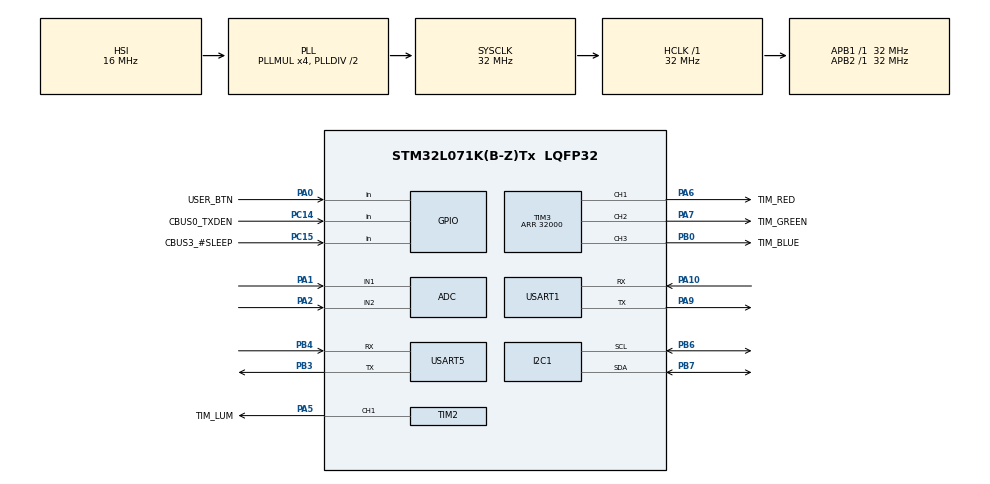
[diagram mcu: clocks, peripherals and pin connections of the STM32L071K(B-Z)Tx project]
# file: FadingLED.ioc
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I2C1.Timing=0x00707CBB
Mcu.Family=STM32L0
Mcu.Name=STM32L071K(B-Z)Tx
Mcu.Package=LQFP32
NVIC.TIM7_IRQn=true\:0\:0\:false\:false\:true\:true\:true
NVIC.USART1_IRQn=true\:0\:0\:false\:false\:true\:true\:true
NVIC.USART4_5_IRQn=true\:0\:0\:false\:false\:true\:true\:true
PA0.GPIO_Label=USER_BTN
PA0.Signal=GPIO_Input
PA1.Mode=IN1
PA1.Signal=ADC_IN1
PA10.Mode=Asynchronous
PA10.Signal=USART1_RX
PA11.Signal=USART1_CTS
PA12.Signal=USART1_RTS
PA13.Mode=Serial_Wire
PA13.Signal=SYS_SWDIO
PA14.Mode=Serial_Wire
PA14.Signal=SYS_SWCLK
PA2.Mode=IN2
PA2.Signal=ADC_IN2
PA5.GPIO_Label=TIM_LUM
PA5.GPIO_ModeDefaultPP=GPIO_MODE_AF_OD
PA5.Signal=S_TIM2_CH1
PA6.GPIO_Label=TIM_RED
PA6.Signal=S_TIM3_CH1
PA7.GPIO_Label=TIM_GREEN
PA7.Signal=S_TIM3_CH2
PA9.Mode=Asynchronous
PA9.Signal=USART1_TX
PB0.GPIO_Label=TIM_BLUE
PB0.Signal=S_TIM3_CH3
PB3.Mode=Asynchronous
PB3.Signal=USART5_TX
PB4.Mode=Asynchronous
PB4.Signal=USART5_RX
PB6.GPIO_Pu=GPIO_PULLUP
PB6.Mode=I2C
PB6.Signal=I2C1_SCL
PB7.GPIO_Pu=GPIO_PULLUP
PB7.Mode=I2C
PB7.Signal=I2C1_SDA
PC14-OSC32_IN.GPIO_Label=CBUS0_TXDEN
PC14-OSC32_IN.Signal=GPIO_Input
PC15-OSC32_OUT.GPIO_Label=CBUS3_\#SLEEP
PC15-OSC32_OUT.Signal=GPIO_Input
ProjectManager.HeapSize=0x200
ProjectManager.StackSize=0x400
ProjectManager.TargetToolchain=STM32CubeIDE
RCC.AHBFreq_Value=32000000
RCC.APB1Freq_Value=32000000
RCC.APB1TimFreq_Value=32000000
RCC.APB2Freq_Value=32000000
RCC.APB2TimFreq_Value=32000000
RCC.HCLKFreq_Value=32000000
RCC.HSI16_VALUE=16000000
RCC.HSI_VALUE=16000000
RCC.LSE_VALUE=32768
RCC.MSI_VALUE=2097000
RCC.PLLMUL=RCC_PLLMUL_4
RCC.SYSCLKFreq_VALUE=32000000
RCC.SYSCLKSource=RCC_SYSCLKSOURCE_PLLCLK
RCC.VCOOutputFreq_Value=64000000
SH.S_TIM2_CH1.0=TIM2_CH1,PWM Generation1 CH1
SH.S_TIM3_CH1.0=TIM3_CH1,PWM Generation1 CH1
SH.S_TIM3_CH2.0=TIM3_CH2,PWM Generation2 CH2
SH.S_TIM3_CH3.0=TIM3_CH3,PWM Generation3 CH3
TIM2.Channel-PWM\ Generation1\ CH1=TIM_CHANNEL_1
TIM2.ClockDivision=TIM_CLOCKDIVISION_DIV1
TIM2.Period=3370
TIM3.Channel-PWM\ Generation1\ CH1=TIM_CHANNEL_1
TIM3.Channel-PWM\ Generation2\ CH2=TIM_CHANNEL_2
TIM3.Channel-PWM\ Generation3\ CH3=TIM_CHANNEL_3
TIM3.ClockDivision=TIM_CLOCKDIVISION_DIV1
TIM3.Period=32000
TIM7.Period=10000
TIM7.Prescaler=31
USART1.VirtualMode-Asynchronous=VM_ASYNC
USART5.VirtualMode-Asynchronous=VM_ASYNC
VP_TIM2_VS_ClockSourceINT.Mode=Internal
VP_TIM3_VS_ClockSourceINT.Mode=Internal
VP_TIM7_VS_ClockSourceINT.Mode=Enable_Timer
board=custom

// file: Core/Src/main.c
/* USER CODE BEGIN Header */
/**
 ******************************************************************************
 * @file           : main.c
 * @brief          : Main program body
 ******************************************************************************
 * @attention
 *
 * <h2><center>&copy; Copyright (c) 2021 STMicroelectronics.
 * All rights reserved.</center></h2>
 *
 * This software component is licensed by ST under BSD 3-Clause license,
 * the "License"; You may not use this file except in compliance with the
 * License. You may obtain a copy of the License at:
 *                        opensource.org/licenses/BSD-3-Clause
 *
 ******************************************************************************
 */
/* USER CODE END Header */
#include "main.h"
#include "adc.h"
#include "i2c.h"
#include "tim.h"
#include "usart.h"
#include "gpio.h"

/* USER CODE BEGIN Includes */
#include "serial_shell.h"
#include "34AA02_EEPROM.h"

#include <stdint.h>
/* USER CODE END Includes */

/* USER CODE BEGIN PV */
uint8_t buf[1];
uint8_t len = sizeof(buf);
/* USER CODE END PV */

void SystemClock_Config(void);

int main(void) {

  /* MCU Configuration--------------------------------------------------------*/

  /* Reset of all peripherals, Initializes the Flash interface and the Systick. */
  HAL_Init();

  /* Configure the system clock */
  SystemClock_Config();

  /* Initialize all configured peripherals */
  MX_GPIO_Init();
  MX_TIM2_Init();
  MX_TIM3_Init();
  MX_TIM7_Init();
  MX_USART1_UART_Init();
  MX_I2C1_Init();
  MX_USART5_UART_Init();
  MX_ADC_Init();
  /* USER CODE BEGIN 2 */

  //Start uart rx interrupt
  HAL_UART_Receive_IT(&huart1, buf, len);

  //Start Color channels
  HAL_TIM_PWM_Start(&htim3, TIM_CHANNEL_1);
  HAL_TIM_PWM_Start(&htim3, TIM_CHANNEL_2);
  HAL_TIM_PWM_Start(&htim3, TIM_CHANNEL_3);

  //Start luminance channel
  HAL_TIM_PWM_Start(&htim2, TIM_CHANNEL_1);

  //Start luminance fade value update timer
  HAL_TIM_Base_Start_IT(&htim7);

  //Get Saved state from EEPROM
  uint16_t buf[6] = { 0 };
  readSavedData(buf, EEPROMADDRESS);

  //setID(buf[0])
  uint8_t startcolors[3] = { (uint8_t) buf[1], (uint8_t) buf[2],
      (uint8_t) buf[3] };
  SetColorValues(startcolors);
  SetLuminanceValue(buf[4]);
  SetRateValue(buf[5]);
  /* USER CODE END 2 */

  /* Infinite loop */
  /* USER CODE BEGIN WHILE */
  while (1) {
    CheckCommand();
    ProcessLuminance();
    /* USER CODE END WHILE */

  }
}

void SystemClock_Config(void) {
  RCC_OscInitTypeDef RCC_OscInitStruct = { 0 };
  RCC_ClkInitTypeDef RCC_ClkInitStruct = { 0 };
  RCC_PeriphCLKInitTypeDef PeriphClkInit = { 0 };

  /** Configure the main internal regulator output voltage
   */
  __HAL_PWR_VOLTAGESCALING_CONFIG(PWR_REGULATOR_VOLTAGE_SCALE1);
  /** Initializes the RCC Oscillators according to the specified parameters
   * in the RCC_OscInitTypeDef structure.
   */
  RCC_OscInitStruct.OscillatorType = RCC_OSCILLATORTYPE_HSI;
  RCC_OscInitStruct.HSIState = RCC_HSI_ON;
  RCC_OscInitStruct.HSICalibrationValue = RCC_HSICALIBRATION_DEFAULT;
  RCC_OscInitStruct.PLL.PLLState = RCC_PLL_ON;
  RCC_OscInitStruct.PLL.PLLSource = RCC_PLLSOURCE_HSI;
  RCC_OscInitStruct.PLL.PLLMUL = RCC_PLLMUL_4;
  RCC_OscInitStruct.PLL.PLLDIV = RCC_PLLDIV_2;
  if (HAL_RCC_OscConfig(&RCC_OscInitStruct) != HAL_OK) {
    Error_Handler();
  }
  /** Initializes the CPU, AHB and APB buses clocks
   */
  RCC_ClkInitStruct.ClockType = RCC_CLOCKTYPE_HCLK | RCC_CLOCKTYPE_SYSCLK
      | RCC_CLOCKTYPE_PCLK1 | RCC_CLOCKTYPE_PCLK2;
  RCC_ClkInitStruct.SYSCLKSource = RCC_SYSCLKSOURCE_PLLCLK;
  RCC_ClkInitStruct.AHBCLKDivider = RCC_SYSCLK_DIV1;
  RCC_ClkInitStruct.APB1CLKDivider = RCC_HCLK_DIV1;
  RCC_ClkInitStruct.APB2CLKDivider = RCC_HCLK_DIV1;

  if (HAL_RCC_ClockConfig(&RCC_ClkInitStruct, FLASH_LATENCY_1) != HAL_OK) {
    Error_Handler();
  }
  PeriphClkInit.PeriphClockSelection =
  RCC_PERIPHCLK_USART1 | RCC_PERIPHCLK_I2C1;
  PeriphClkInit.Usart1ClockSelection = RCC_USART1CLKSOURCE_PCLK2;
  PeriphClkInit.I2c1ClockSelection = RCC_I2C1CLKSOURCE_PCLK1;
  if (HAL_RCCEx_PeriphCLKConfig(&PeriphClkInit) != HAL_OK) {
    Error_Handler();
  }
}

/* USER CODE BEGIN 4 */
/**
 * @brief The UART RX interrupt routine. Sends received UART Transmissions to ProcessSerial
 *
 * @param huart Specific UART interface handler struct
 */
void HAL_UART_RxCpltCallback(UART_HandleTypeDef *huart) {
  ProcessSerial(buf);
  HAL_UART_Receive_IT(&huart1, buf, len);
}
/* USER CODE END 4 */

void Error_Handler(void) {
  __disable_irq();
  while (1) {
  }
}

/************************ (C) COPYRIGHT STMicroelectronics *****END OF FILE****/
